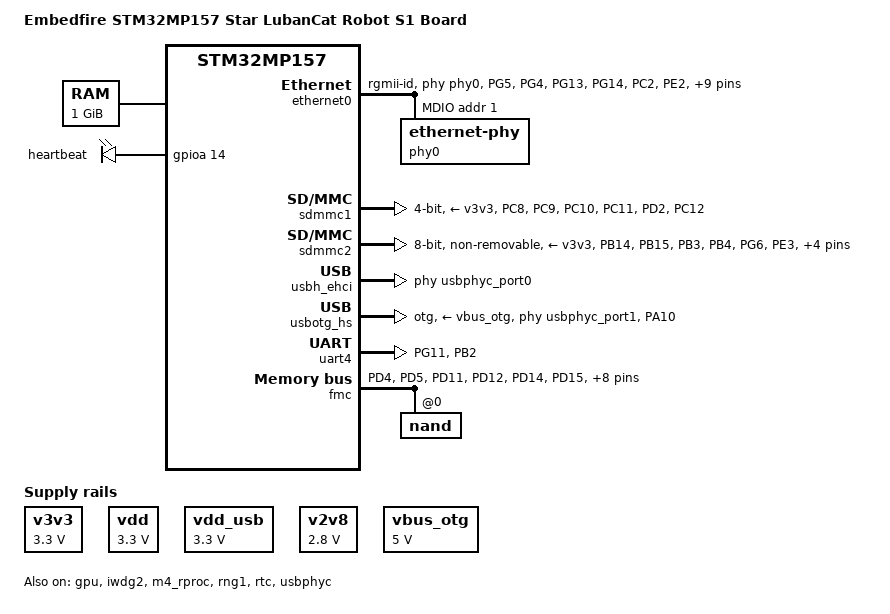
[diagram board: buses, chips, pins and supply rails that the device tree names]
// SPDX-License-Identifier: (GPL-2.0+ OR BSD-3-Clause)
/*
 * Copyright (C) STMicroelectronics 2018 - All Rights Reserved
 * Author: Alexandre Torgue <alexandre.torgue@st.com>.
 */

/dts-v1/;


/{
	#address-cells = <1>;
	#size-cells = <1>;

	soc{
		/* Fix sdmmc index order */
		sdmmc@58005000{};
		sdmmc@58007000{};
		sdmmc@48004000{};
	};

};

#include "stm32mp157c.dtsi"
#include "stm32mp157cac-pinctrl.dtsi"
#include "stm32mp157c-m4-srm.dtsi"
#include <dt-bindings/input/input.h>
#include <dt-bindings/mfd/st,stpmic1.h>

/ {
	model = "Embedfire STM32MP157 Star LubanCat Robot S1 Board";
	compatible = "st,stm32mp157a-dk1", "st,stm32mp157";

	aliases {
		ethernet0 = &ethernet0;
		serial0 = &uart4;
		serial1 = &usart1;
		serial2 = &usart2;
		serial3 = &usart3;		
	};

	chosen {
		stdout-path = "serial0:115200n8";
	};

	memory@c0000000 {
		reg = <0xc0000000 0x40000000>;
	};

	reserved-memory {
		#address-cells = <1>;
		#size-cells = <1>;
		ranges;

		retram: retram@0x38000000 {
			compatible = "shared-dma-pool";
			reg = <0x38000000 0x10000>;
			no-map;
		};

		mcuram: mcuram@0x30000000 {
			compatible = "shared-dma-pool";
			reg = <0x30000000 0x40000>;
			no-map;
		};

		mcuram2: mcuram2@0x10000000 {
			compatible = "shared-dma-pool";
			reg = <0x10000000 0x40000>;
			no-map;
		};

		vdev0vring0: vdev0vring0@10040000 {
			compatible = "shared-dma-pool";
			reg = <0x10040000 0x2000>;
			no-map;
		};

		vdev0vring1: vdev0vring1@10042000 {
			compatible = "shared-dma-pool";
			reg = <0x10042000 0x2000>;
			no-map;
		};

		vdev0buffer: vdev0buffer@10044000 {
			compatible = "shared-dma-pool";
			reg = <0x10044000 0x4000>;
			no-map;
		};

		gpu_reserved: gpu@d4000000 {
			reg = <0xd4000000 0x4000000>;
			no-map;
		};
	};

	sram: sram@10050000 {
		compatible = "mmio-sram";
		reg = <0x10050000 0x10000>;
		#address-cells = <1>;
		#size-cells = <1>;
		ranges = <0 0x10050000 0x10000>;

		dma_pool: dma_pool@0 {
			reg = <0x0 0x10000>;
			pool;
		};
	};

	leds {
		compatible = "gpio-leds";
		status = "okay";
		heartbeat {
			label = "heartbeat";
			gpios = <&gpioa 14 GPIO_ACTIVE_HIGH>;
			linux,default-trigger = "heartbeat";
			default-state = "off";
		};
	};
	v3v3: regulator-3p3v {
		compatible = "regulator-fixed";
		regulator-name = "v3v3";
		regulator-min-microvolt = <3300000>;
		regulator-max-microvolt = <3300000>;
		regulator-always-on;
		regulator-boot-on;
	};

	vdd: regulator-vdd {
		compatible = "regulator-fixed";
		regulator-name = "vdd";
		regulator-min-microvolt = <3300000>;
		regulator-max-microvolt = <3300000>;
		regulator-always-on;
		regulator-boot-on;
	};

	vdd_usb: regulator-vdd-usb {
		compatible = "regulator-fixed";
		regulator-name = "vdd_usb";
		regulator-min-microvolt = <3300000>;
		regulator-max-microvolt = <3300000>;
		regulator-always-on;
		regulator-boot-on;
	};

	v2v8: v2v8 {
		compatible = "regulator-fixed";
		regulator-name = "v2v8";
		regulator-min-microvolt = <2800000>;
		regulator-max-microvolt = <2800000>;
		regulator-always-on;
		regulator-boot-on;
	};

	vbus_otg: regulator-vbus-otg {
		compatible = "regulator-fixed";
		regulator-name = "vbus_otg";
		regulator-min-microvolt = <5000000>;
		regulator-max-microvolt = <5000000>;
		regulator-always-on;
		regulator-boot-on;
	};

	usb_phy_tuning: usb-phy-tuning {
		st,hs-dc-level = <2>;
		st,fs-rftime-tuning;
		st,hs-rftime-reduction;
		st,hs-current-trim = <15>;
		st,hs-impedance-trim = <1>;
		st,squelch-level = <3>;
		st,hs-rx-offset = <2>;
		st,no-lsfs-sc;
	};
	
};

&cpu0{
	//cpu-supply = <&vddcore>;
	clock-frequency = <650000000>;
};

&cpu1{
	//cpu-supply = <&vddcore>;
	clock-frequency = <650000000>;
};

&dma1 {
	sram = <&dma_pool>;
};

&dma2 {
	sram = <&dma_pool>;
};

&pinctrl{
	fmc_pins_a: fmc-0 {
		pins1 {
			pinmux = <STM32_PINMUX('D', 4, AF12)>, /* FMC_NOE */
					<STM32_PINMUX('D', 5, AF12)>, /* FMC_NWE */
					<STM32_PINMUX('D', 11, AF12)>, /* FMC_A16_FMC_CLE */
					<STM32_PINMUX('D', 12, AF12)>, /* FMC_A17_FMC_ALE */
					<STM32_PINMUX('D', 14, AF12)>, /* FMC_D0 */
					<STM32_PINMUX('D', 15, AF12)>, /* FMC_D1 */
					<STM32_PINMUX('D', 0, AF12)>, /* FMC_D2 */
					<STM32_PINMUX('D', 1, AF12)>, /* FMC_D3 */
					<STM32_PINMUX('E', 7, AF12)>, /* FMC_D4 */
					<STM32_PINMUX('E', 8, AF12)>, /* FMC_D5 */
					<STM32_PINMUX('E', 9, AF12)>, /* FMC_D6 */
					<STM32_PINMUX('E', 10, AF12)>, /* FMC_D7 */
					<STM32_PINMUX('G', 9, AF12)>; /* FMC_NE2_FMC_NCE */
			bias-disable;
			drive-push-pull;
			slew-rate = <1>;
		};
		pins2 {
			pinmux = <STM32_PINMUX('D', 6, AF12)>; /* FMC_NWAIT */
			bias-pull-up;
		};
	};

	fmc_sleep_pins_a: fmc-sleep-0 {
		pins {
			pinmux = <STM32_PINMUX('D', 4, ANALOG)>, /* FMC_NOE */
					<STM32_PINMUX('D', 5, ANALOG)>, /* FMC_NWE */
					<STM32_PINMUX('D', 11, ANALOG)>, /* FMC_A16_FMC_CLE */
					<STM32_PINMUX('D', 12, ANALOG)>, /* FMC_A17_FMC_ALE */
					<STM32_PINMUX('D', 14, ANALOG)>, /* FMC_D0 */
					<STM32_PINMUX('D', 15, ANALOG)>, /* FMC_D1 */
					<STM32_PINMUX('D', 0, ANALOG)>, /* FMC_D2 */
					<STM32_PINMUX('D', 1, ANALOG)>, /* FMC_D3 */
					<STM32_PINMUX('E', 7, ANALOG)>, /* FMC_D4 */
					<STM32_PINMUX('E', 8, ANALOG)>, /* FMC_D5 */
					<STM32_PINMUX('E', 9, ANALOG)>, /* FMC_D6 */
					<STM32_PINMUX('E', 10, ANALOG)>, /* FMC_D7 */
					<STM32_PINMUX('D', 6, ANALOG)>, /* FMC_NWAIT */
					<STM32_PINMUX('G', 9, ANALOG)>; /* FMC_NE2_FMC_NCE */
		};
	};


	usbotg_hs_pins_a: usbotg_hs-0 {
		pins {
			pinmux = <STM32_PINMUX('A', 10, ANALOG)>; /* OTG_ID */
		};
	};

	sdmmc1_b4_pins_a: sdmmc1-b4-0 {
		pins1 {
			pinmux = <STM32_PINMUX('C', 8, AF12)>, /* SDMMC1_D0 */
					<STM32_PINMUX('C', 9, AF12)>, /* SDMMC1_D1 */
					<STM32_PINMUX('C', 10, AF12)>, /* SDMMC1_D2 */
					<STM32_PINMUX('C', 11, AF12)>, /* SDMMC1_D3 */
					<STM32_PINMUX('D', 2, AF12)>; /* SDMMC1_CMD */
			slew-rate = <1>;
			drive-push-pull;
			bias-disable;
		};
		pins2 {
			pinmux = <STM32_PINMUX('C', 12, AF12)>; /* SDMMC1_CK */
			slew-rate = <2>;
			drive-push-pull;
			bias-disable;
		};
	};

	sdmmc1_b4_od_pins_a: sdmmc1-b4-od-0 {
		pins1 {
			pinmux = <STM32_PINMUX('C', 8, AF12)>, /* SDMMC1_D0 */
					<STM32_PINMUX('C', 9, AF12)>, /* SDMMC1_D1 */
					<STM32_PINMUX('C', 10, AF12)>, /* SDMMC1_D2 */
					<STM32_PINMUX('C', 11, AF12)>; /* SDMMC1_D3 */
			slew-rate = <1>;
			drive-push-pull;
			bias-disable;
		};
		pins2 {
			pinmux = <STM32_PINMUX('C', 12, AF12)>; /* SDMMC1_CK */
			slew-rate = <2>;
			drive-push-pull;
			bias-disable;
		};
		pins3 {
			pinmux = <STM32_PINMUX('D', 2, AF12)>; /* SDMMC1_CMD */
			slew-rate = <1>;
			drive-open-drain;
			bias-disable;
		};
	};

	sdmmc1_b4_sleep_pins_a: sdmmc1-b4-sleep-0 {
		pins {
			pinmux = <STM32_PINMUX('C', 8, ANALOG)>, /* SDMMC1_D0 */
					<STM32_PINMUX('C', 9, ANALOG)>, /* SDMMC1_D1 */
					<STM32_PINMUX('C', 10, ANALOG)>, /* SDMMC1_D2 */
					<STM32_PINMUX('C', 11, ANALOG)>, /* SDMMC1_D3 */
					<STM32_PINMUX('C', 12, ANALOG)>, /* SDMMC1_CK */
					<STM32_PINMUX('D', 2, ANALOG)>; /* SDMMC1_CMD */
		};
	};


	sdmmc2_b4_pins_b: sdmmc2-b4-1 {
		pins1 {
			pinmux = <STM32_PINMUX('B', 14, AF9)>, /* SDMMC2_D0 */
					<STM32_PINMUX('B', 15, AF9)>, /* SDMMC2_D1 */
					<STM32_PINMUX('B', 3, AF9)>, /* SDMMC2_D2 */
					<STM32_PINMUX('B', 4, AF9)>, /* SDMMC2_D3 */
					<STM32_PINMUX('G', 6, AF10)>; /* SDMMC2_CMD */
			slew-rate = <1>;
			drive-push-pull;
			bias-disable;
		};
		pins2 {
			pinmux = <STM32_PINMUX('E', 3, AF9)>; /* SDMMC2_CK */
			slew-rate = <2>;
			drive-push-pull;
			bias-disable;
		};
	};

	sdmmc2_b4_od_pins_b: sdmmc2-b4-od-1 {
		pins1 {
			pinmux = <STM32_PINMUX('B', 14, AF9)>, /* SDMMC2_D0 */
					<STM32_PINMUX('B', 15, AF9)>, /* SDMMC2_D1 */
					<STM32_PINMUX('B', 3, AF9)>, /* SDMMC2_D2 */
					<STM32_PINMUX('B', 4, AF9)>; /* SDMMC2_D3 */
			slew-rate = <1>;
			drive-push-pull;
			bias-disable;
		};
		pins2 {
			pinmux = <STM32_PINMUX('E', 3, AF9)>; /* SDMMC2_CK */
			slew-rate = <2>;
			drive-push-pull;
			bias-disable;
		};
		pins3 {
			pinmux = <STM32_PINMUX('G', 6, AF10)>; /* SDMMC2_CMD */
			slew-rate = <1>;
			drive-open-drain;
			bias-disable;
		};
	};



	sdmmc2_d47_pins_a: sdmmc2-d47-0 {
		pins {
			pinmux = <STM32_PINMUX('A', 8, AF9)>, /* SDMMC2_D4 */
					<STM32_PINMUX('A', 9, AF10)>, /* SDMMC2_D5 */
					<STM32_PINMUX('C', 6, AF10)>, /* SDMMC2_D6 */
					<STM32_PINMUX('C', 7, AF10)>; /* SDMMC2_D7 */
			slew-rate = <1>;
			drive-push-pull;
			bias-pull-up;
		};
	};
	sdmmc2_b4_sleep_pins_a: sdmmc2-b4-sleep-0 {
		pins {
			pinmux = <STM32_PINMUX('B', 14, ANALOG)>, /* SDMMC2_D0 */
					<STM32_PINMUX('B', 15, ANALOG)>, /* SDMMC2_D1 */
					<STM32_PINMUX('B', 3, ANALOG)>, /* SDMMC2_D2 */
					<STM32_PINMUX('B', 4, ANALOG)>, /* SDMMC2_D3 */
					<STM32_PINMUX('E', 3, ANALOG)>, /* SDMMC2_CK */
					<STM32_PINMUX('G', 6, ANALOG)>; /* SDMMC2_CMD */
		};
	};

	sdmmc2_d47_sleep_pins_a: sdmmc2-d47-sleep-0 {
		pins {
			pinmux = <STM32_PINMUX('A', 8, ANALOG)>, /* SDMMC2_D4 */
					<STM32_PINMUX('A', 9, ANALOG)>, /* SDMMC2_D5 */
					<STM32_PINMUX('C', 6, ANALOG)>, /* SDMMC2_D6 */
					<STM32_PINMUX('C', 7, ANALOG)>; /* SDMMC2_D7 */
		};
	};

	ethernet0_rgmii_pins_a: rgmii-0 {
		pins1 {
			pinmux = <STM32_PINMUX('G', 5, AF11)>, /* ETH_RGMII_CLK125 */
					<STM32_PINMUX('G', 4, AF11)>, /* ETH_RGMII_GTX_CLK */
					<STM32_PINMUX('G', 13, AF11)>, /* ETH_RGMII_TXD0 */
					<STM32_PINMUX('G', 14, AF11)>, /* ETH_RGMII_TXD1 */
					<STM32_PINMUX('C', 2, AF11)>, /* ETH_RGMII_TXD2 */
					<STM32_PINMUX('E', 2, AF11)>, /* ETH_RGMII_TXD3 */
					<STM32_PINMUX('B', 11, AF11)>, /* ETH_RGMII_TX_CTL */
					<STM32_PINMUX('C', 1, AF11)>; /* ETH_MDC */
			bias-disable;
			drive-push-pull;
			slew-rate = <2>;
		};
		pins2 {
			pinmux = <STM32_PINMUX('A', 2, AF11)>; /* ETH_MDIO */
			bias-disable;
			drive-push-pull;
			slew-rate = <0>;
		};
		pins3 {
			pinmux = <STM32_PINMUX('C', 4, AF11)>, /* ETH_RGMII_RXD0 */
					<STM32_PINMUX('C', 5, AF11)>, /* ETH_RGMII_RXD1 */
					<STM32_PINMUX('H', 6, AF11)>, /* ETH_RGMII_RXD2 */
					<STM32_PINMUX('B', 1, AF11)>, /* ETH_RGMII_RXD3 */
					<STM32_PINMUX('A', 1, AF11)>, /* ETH_RGMII_RX_CLK */
					<STM32_PINMUX('A', 7, AF11)>; /* ETH_RGMII_RX_CTL */
			bias-disable;
		};
	};

	ethernet0_rgmii_pins_sleep_a: rgmii-sleep-0 {
		pins1 {
			pinmux = <STM32_PINMUX('G', 5, ANALOG)>, /* ETH_RGMII_CLK125 */
					<STM32_PINMUX('G', 4, ANALOG)>, /* ETH_RGMII_GTX_CLK */
					<STM32_PINMUX('G', 13, ANALOG)>, /* ETH_RGMII_TXD0 */
					<STM32_PINMUX('G', 14, ANALOG)>, /* ETH_RGMII_TXD1 */
					<STM32_PINMUX('C', 2, ANALOG)>, /* ETH_RGMII_TXD2 */
					<STM32_PINMUX('E', 2, ANALOG)>, /* ETH_RGMII_TXD3 */
					<STM32_PINMUX('B', 11, ANALOG)>, /* ETH_RGMII_TX_CTL */
					<STM32_PINMUX('A', 2, ANALOG)>, /* ETH_MDIO */
					<STM32_PINMUX('C', 1, ANALOG)>, /* ETH_MDC */
					<STM32_PINMUX('C', 4, ANALOG)>, /* ETH_RGMII_RXD0 */
					<STM32_PINMUX('C', 5, ANALOG)>, /* ETH_RGMII_RXD1 */
					<STM32_PINMUX('H', 6, ANALOG)>, /* ETH_RGMII_RXD2 */
					<STM32_PINMUX('B', 1, ANALOG)>, /* ETH_RGMII_RXD3 */
					<STM32_PINMUX('A', 1, ANALOG)>, /* ETH_RGMII_RX_CLK */
					<STM32_PINMUX('A', 7, ANALOG)>; /* ETH_RGMII_RX_CTL */
		};
	};

	uart4_pins_a: uart4-0 {
		pins1 {
			pinmux = <STM32_PINMUX('G', 11, AF6)>; /* UART4_TX */
			bias-disable;
			drive-push-pull;
			slew-rate = <0>;
		};
		pins2 {
			pinmux = <STM32_PINMUX('B', 2, AF8)>; /* UART4_RX */
			bias-disable;
		};
	};

	uart4_idle_pins_a: uart4-idle-0 {
		pins1 {
			pinmux = <STM32_PINMUX('G', 11, ANALOG)>; /* UART4_TX */
		};
		pins2 {
			pinmux = <STM32_PINMUX('B', 2, AF8)>; /* UART4_RX */
			bias-disable;
		};
	};

	uart4_sleep_pins_a: uart4-sleep-0 {
		pins {
			pinmux = <STM32_PINMUX('G', 11, ANALOG)>, /* UART4_TX */
					<STM32_PINMUX('B', 2, ANALOG)>; /* UART4_RX */
		};
	};
};

&ethernet0 {
	status = "okay";
	pinctrl-0 = <&ethernet0_rgmii_pins_a>;
	pinctrl-1 = <&ethernet0_rgmii_pins_sleep_a>;
	pinctrl-names = "default", "sleep";
	phy-mode = "rgmii-id";
	max-speed = <1000>;
	phy-handle = <&phy0>;

	mdio0 {
		#address-cells = <1>;
		#size-cells = <0>;
		compatible = "snps,dwmac-mdio";
		phy0: ethernet-phy@1 {
			reg = <1>;
		};
	};
};

&gpu {
	contiguous-area = <&gpu_reserved>;
	status = "okay";
};

&ipcc {
	status = "okay";
};

&iwdg2 {
	timeout-sec = <32>;
	status = "okay";
};


&m4_rproc {
	memory-region = <&retram>, <&mcuram>, <&mcuram2>, <&vdev0vring0>,
			<&vdev0vring1>, <&vdev0buffer>;
	mboxes = <&ipcc 0>, <&ipcc 1>, <&ipcc 2>;
	mbox-names = "vq0", "vq1", "shutdown";
	interrupt-parent = <&exti>;
	interrupts = <68 1>;
	interrupt-names = "wdg";
	wakeup-source;
	recovery;
	status = "okay";
};


&pwr {
	pwr-regulators {
		vdd-supply = <&vdd>;
		vdd_3v3_usbfs-supply = <&vdd_usb>;
	};
};

&rng1 {
	status = "okay";
};

&rtc {
	status = "okay";
};


&sdmmc1 {
	pinctrl-names = "default", "opendrain", "sleep";
	pinctrl-0 = <&sdmmc1_b4_pins_a>;
	pinctrl-1 = <&sdmmc1_b4_od_pins_a>;
	pinctrl-2 = <&sdmmc1_b4_sleep_pins_a>;
	broken-cd;
	st,neg-edge;
	bus-width = <4>;
	vmmc-supply = <&v3v3>;
	status = "okay";
};

&sdmmc2 {
	pinctrl-names = "default", "opendrain", "sleep";
	pinctrl-0 = <&sdmmc2_b4_pins_b &sdmmc2_d47_pins_a>;
	pinctrl-1 = <&sdmmc2_b4_od_pins_b>;
	pinctrl-2 = <&sdmmc2_b4_sleep_pins_a &sdmmc2_d47_sleep_pins_a>;
	non-removable;
	st,neg-edge;
	bus-width = <8>;
	vmmc-supply = <&v3v3>;
	keep-power-in-suspend;
	status = "okay";
};



&usbh_ehci {
	phys = <&usbphyc_port0>;
	phy-names = "usb";
	status = "okay";
};

&usbotg_hs {
	pinctrl-names = "default";
	pinctrl-0 = <&usbotg_hs_pins_a>;
	dr_mode = "otg";
	phys = <&usbphyc_port1 0>;
	phy-names = "usb2-phy";
	vbus-supply = <&vbus_otg>;
	status = "okay";
};

&usbphyc {
	vdd3v3-supply = <&vdd_usb>;
	status = "okay";
};

&usbphyc_port0 {
	st,phy-tuning = <&usb_phy_tuning>;
};

&usbphyc_port1 {
	st,phy-tuning = <&usb_phy_tuning>;
};

&uart4 {
	pinctrl-names = "default", "sleep", "idle", "no_console_suspend";
	pinctrl-0 = <&uart4_pins_a>;
	pinctrl-1 = <&uart4_sleep_pins_a>;
	pinctrl-2 = <&uart4_idle_pins_a>;
	pinctrl-3 = <&uart4_pins_a>;
	/delete-property/dmas;
	/delete-property/dma-names;
	status = "okay";
};

&fmc {
	pinctrl-names = "default", "sleep";
	pinctrl-0 = <&fmc_pins_a>;
	pinctrl-1 = <&fmc_sleep_pins_a>;
	status = "okay";
	#address-cells = <1>;
	#size-cells = <0>;

	nand: nand@0 {
		reg = <0>;
		nand-on-flash-bbt;
		#address-cells = <1>;
		#size-cells = <1>;
	};
};
